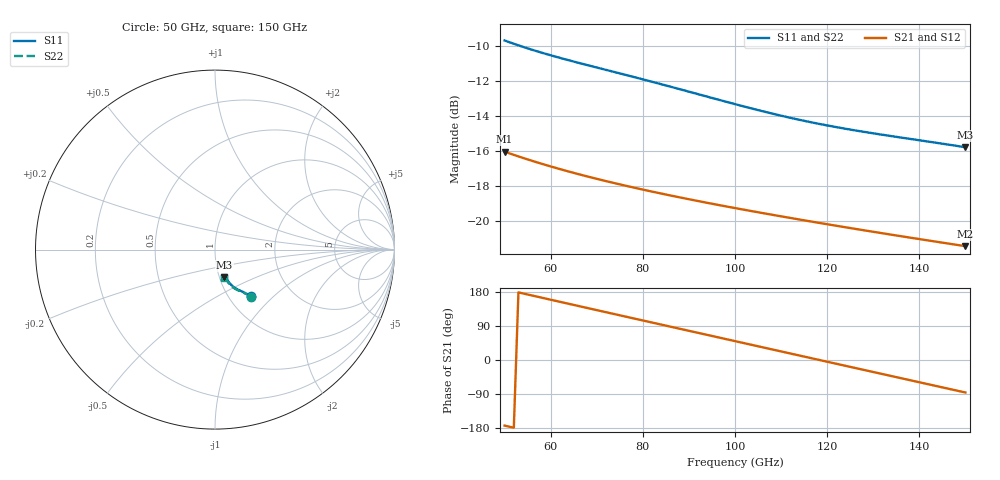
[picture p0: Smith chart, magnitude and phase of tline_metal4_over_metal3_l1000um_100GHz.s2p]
#  GHZ S DB R 50
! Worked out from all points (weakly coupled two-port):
!   101 points, 50 GHz to 150 GHz, reference 50 ohm
!   highest |S21| = -16.03 dB at 50 GHz (marker M1); lowest = -21.4 dB at 150 GHz (marker M2)
!   lowest |S11| = -15.8 dB at 150 GHz (marker M3), VSWR 1.39, Z = 52.8 - j16.7 ohm
!   |S11| at or under -10 dB: 53.61 GHz to end of sweep
!   |S22| runs from -15.6 to -9.6 dB; largest |S21 - S12| = 1.6e-13
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50  -9.67 -52.4  -16.03 -173.1  -16.03 -173.1  -9.63 -52.7
54  -10.03 -53.3  -16.39 175.7  -16.39 175.7  -9.99 -53.7
58  -10.36 -54.3  -16.72 164.6  -16.72 164.6  -10.32 -54.7
63  -10.73 -55.6  -17.10 150.8  -17.10 150.8  -10.68 -56.0
67  -11.01 -56.7  -17.39 139.8  -17.39 139.8  -10.95 -57.1
71  -11.28 -57.8  -17.65 128.9  -17.65 128.9  -11.22 -58.3
75  -11.55 -59.0  -17.90 118.0  -17.90 118.0  -11.48 -59.5
79  -11.82 -60.2  -18.14 107.0  -18.14 107.0  -11.75 -60.8
84  -12.17 -61.7  -18.43 93.4  -18.43 93.4  -12.09 -62.3
88  -12.46 -62.7  -18.65 82.5  -18.65 82.5  -12.37 -63.4
92  -12.74 -63.7  -18.86 71.6  -18.86 71.6  -12.65 -64.5
100  -13.31 -65.4  -19.26 49.8  -19.26 49.8  -13.21 -66.2
105  -13.65 -66.2  -19.50 36.2  -19.50 36.2  -13.54 -67.1
109  -13.91 -66.7  -19.69 25.4  -19.69 25.4  -13.80 -67.6
113  -14.15 -67.1  -19.87 14.5  -19.87 14.5  -14.03 -68.1
117  -14.37 -67.5  -20.05 3.6  -20.05 3.6  -14.25 -68.5
121  -14.58 -67.8  -20.23 -7.2  -20.23 -7.2  -14.45 -68.9
125  -14.77 -68.2  -20.40 -18.1  -20.40 -18.1  -14.63 -69.3
129  -14.94 -68.6  -20.57 -28.9  -20.57 -28.9  -14.80 -69.7
134  -15.14 -69.1  -20.79 -42.5  -20.79 -42.5  -14.99 -70.3
142  -15.46 -70.1  -21.12 -64.1  -21.12 -64.1  -15.28 -71.4
150  -15.78 -71.2  -21.44 -85.8  -21.44 -85.8  -15.58 -72.6
